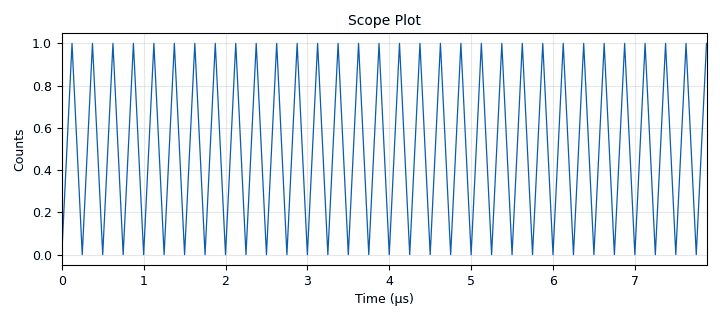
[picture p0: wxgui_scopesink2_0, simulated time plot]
<?xml version='1.0' encoding='utf-8'?>
<?grc format='1' created='3.7.11'?>
<flow_graph>
<block>
<key>options</key>
<param><key>id</key><value>top_block</value></param>
<param><key>generate_options</key><value>wx_gui</value></param>
</block>
<block>
<key>variable</key>
<param><key>id</key><value>samp_rate</value></param>
<param><key>value</key><value>8e6</value></param>
</block>
<block>
<key>blocks_throttle</key>
<param><key>id</key><value>blocks_throttle_0</value></param>
<param><key>samples_per_second</key><value>samp_rate</value></param>
<param><key>type</key><value>byte</value></param>
</block>
<block>
<key>blocks_uchar_to_float</key>
<param><key>id</key><value>blocks_uchar_to_float_0</value></param>
</block>
<block>
<key>blocks_vector_source_x</key>
<param><key>id</key><value>blocks_vector_source_x_0</value></param>
<param><key>type</key><value>byte</value></param>
<param><key>repeat</key><value>True</value></param>
<param><key>vector</key><value>(0, 1)</value></param>
</block>
<block>
<key>wxgui_scopesink2</key>
<param><key>id</key><value>wxgui_scopesink2_0</value></param>
<param><key>ac_couple</key><value>False</value></param>
<param><key>num_inputs</key><value>1</value></param>
<param><key>samp_rate</key><value>samp_rate</value></param>
<param><key>t_scale</key><value>0</value></param>
<param><key>title</key><value>Scope Plot</value></param>
<param><key>trig_mode</key><value>wxgui.TRIG_MODE_AUTO</value></param>
<param><key>type</key><value>float</value></param>
<param><key>v_offset</key><value>0</value></param>
<param><key>v_scale</key><value>0</value></param>
<param><key>xy_mode</key><value>False</value></param>
<param><key>y_axis_label</key><value>Counts</value></param>
</block>
<connection><source_block_id>blocks_throttle_0</source_block_id><sink_block_id>blocks_uchar_to_float_0</sink_block_id><source_key>0</source_key><sink_key>0</sink_key></connection>
<connection><source_block_id>blocks_uchar_to_float_0</source_block_id><sink_block_id>wxgui_scopesink2_0</sink_block_id><source_key>0</source_key><sink_key>0</sink_key></connection>
<connection><source_block_id>blocks_vector_source_x_0</source_block_id><sink_block_id>blocks_throttle_0</sink_block_id><source_key>0</source_key><sink_key>0</sink_key></connection>
</flow_graph>
